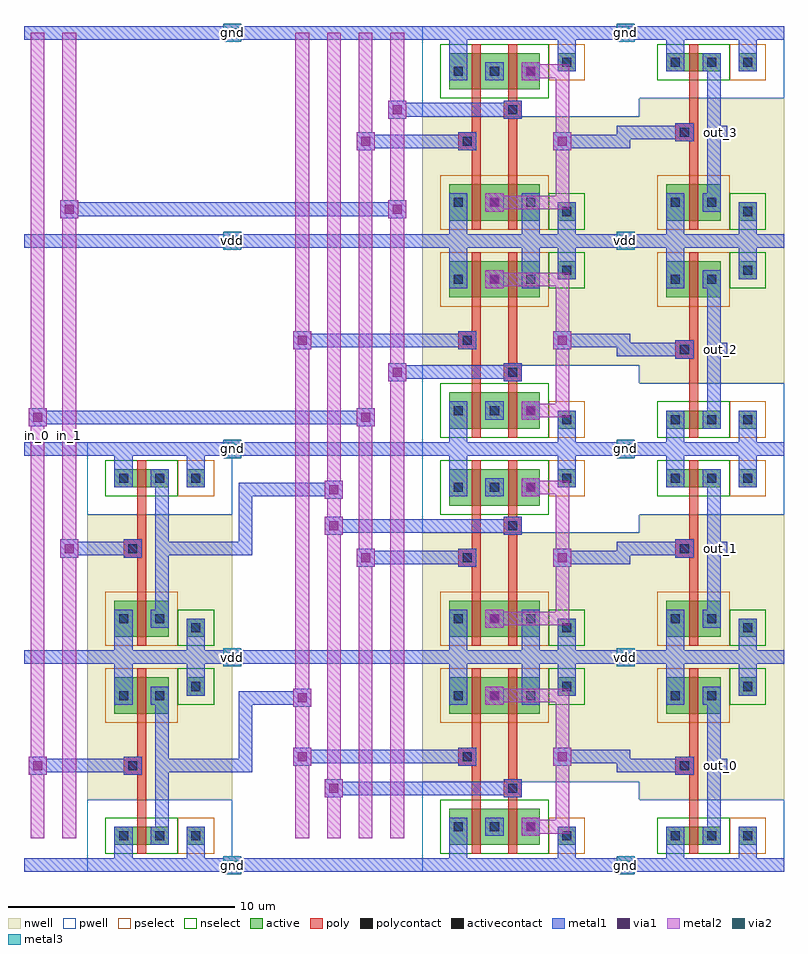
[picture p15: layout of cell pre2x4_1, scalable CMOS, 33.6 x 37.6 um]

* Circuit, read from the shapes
.subckt pre2x4_1 gnd in_0 in_1 out_0 out_1 out_2 out_3 vdd
M1 pnand2_2_6/A in_0 gnd gnd nfet w=0.8u l=0.4u
M2 pnand2_2_6/B in_1 gnd gnd nfet w=0.8u l=0.4u
M3 pnand2_2_6/nmos_m1_w1_6_a_p_2/D pnand2_2_6/A gnd gnd nfet w=1.6u l=0.4u
M4 pnand2_2_7/nmos_m1_w1_6_a_p_2/D in_0 gnd gnd nfet w=1.6u l=0.4u
M5 pnand2_2_8/nmos_m1_w1_6_a_p_2/D pnand2_2_6/A gnd gnd nfet w=1.6u l=0.4u
M6 pnand2_2_9/nmos_m1_w1_6_a_p_2/D in_0 gnd gnd nfet w=1.6u l=0.4u
M7 pinv_2_2/A pnand2_2_6/B pnand2_2_6/nmos_m1_w1_6_a_p_2/D gnd nfet w=1.6u l=0.4u
M8 pinv_2_3/A pnand2_2_6/B pnand2_2_7/nmos_m1_w1_6_a_p_2/D gnd nfet w=1.6u l=0.4u
M9 pinv_2_4/A in_1 pnand2_2_8/nmos_m1_w1_6_a_p_2/D gnd nfet w=1.6u l=0.4u
M10 pinv_2_5/A in_1 pnand2_2_9/nmos_m1_w1_6_a_p_2/D gnd nfet w=1.6u l=0.4u
M11 out_0 pinv_2_2/A gnd gnd nfet w=0.8u l=0.4u
M12 out_1 pinv_2_3/A gnd gnd nfet w=0.8u l=0.4u
M13 out_2 pinv_2_4/A gnd gnd nfet w=0.8u l=0.4u
M14 out_3 pinv_2_5/A gnd gnd nfet w=0.8u l=0.4u
M15 pnand2_2_6/A in_0 vdd vdd pfet w=1.6u l=0.4u
M16 pnand2_2_6/B in_1 vdd vdd pfet w=1.6u l=0.4u
M17 pinv_2_2/A pnand2_2_6/A vdd vdd pfet w=1.6u l=0.4u
M18 pinv_2_3/A in_0 vdd vdd pfet w=1.6u l=0.4u
M19 pinv_2_4/A pnand2_2_6/A vdd vdd pfet w=1.6u l=0.4u
M20 pinv_2_5/A in_0 vdd vdd pfet w=1.6u l=0.4u
M21 vdd pnand2_2_6/B pinv_2_2/A vdd pfet w=1.6u l=0.4u
M22 vdd pnand2_2_6/B pinv_2_3/A vdd pfet w=1.6u l=0.4u
M23 vdd in_1 pinv_2_4/A vdd pfet w=1.6u l=0.4u
M24 vdd in_1 pinv_2_5/A vdd pfet w=1.6u l=0.4u
M25 out_0 pinv_2_2/A vdd vdd pfet w=1.6u l=0.4u
M26 out_1 pinv_2_3/A vdd vdd pfet w=1.6u l=0.4u
M27 out_2 pinv_2_4/A vdd vdd pfet w=1.6u l=0.4u
M28 out_3 pinv_2_5/A vdd vdd pfet w=1.6u l=0.4u
.ends

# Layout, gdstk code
from math import pi, radians
import gdstk
lib = gdstk.Library(unit=1e-6, precision=1e-09)
def R(c, l, rs):  # rectangles x0, y0, x1, y1
    for r in rs: c.add(gdstk.rectangle(r[:2], r[2:], *l))
def A(c, l, x, y, w, h, nx, ny, dx, dy):  # array of equal rectangles
    R(c, l, [(x+i*dx, y+j*dy, x+i*dx+w, y+j*dy+h) for i in range(nx) for j in range(ny)])
pwell = (41, 0)
nwell = (42, 0)
active = (43, 0)
pselect = (44, 0)
nselect = (45, 0)
poly = (46, 0)
polycontact = (47, 0)
activecontact = (48, 0)
metal1 = (49, 0)
via1 = (50, 0)
metal2 = (51, 0)
via2 = (61, 0)
metal3 = (62, 0)

active_contact_metal1_1x = lib.new_cell('active_contact_metal1_1x1_pn')
R(active_contact_metal1_1x, nwell, [(-1.2,-1.2,2,2)])
R(active_contact_metal1_1x, active, [(0,0,0.8,0.8)])
R(active_contact_metal1_1x, pselect, [(-0.4,-0.4,1.2,1.2)])
R(active_contact_metal1_1x, activecontact, [(0.2,0.2,0.6,0.6)])
R(active_contact_metal1_1x, metal1, [(0,0,0.8,0.8)])

pmos_m1_w1_6_a_p = lib.new_cell('pmos_m1_w1_6_a_p')
R(pmos_m1_w1_6_a_p, nwell, [(-1.2,-1.2,3.6,2.8)])
R(pmos_m1_w1_6_a_p, active, [(0,0,2.4,1.6)])
R(pmos_m1_w1_6_a_p, pselect, [(-0.4,-0.4,2.8,2)])
R(pmos_m1_w1_6_a_p, poly, [(1,-0.4,1.4,2), (1,-0.4,1.4,2)])
R(pmos_m1_w1_6_a_p, metal1, [(0,0.4,0.8,1.2), (1.6,0.4,2.4,1.2)])
pmos_m1_w1_6_a_p.add(gdstk.Reference(active_contact_metal1_1x, (0,0.4)))
pmos_m1_w1_6_a_p.add(gdstk.Reference(active_contact_metal1_1x, (1.6,0.4)))
pmos_m1_w1_6_a_p.add(gdstk.Label('G', (1.2,0.8), layer=46, texttype=0))
pmos_m1_w1_6_a_p.add(gdstk.Label('S', (0.4,0.8), layer=49, texttype=0))
pmos_m1_w1_6_a_p.add(gdstk.Label('D', (2,0.8), layer=49, texttype=0))

c_active_contact_metal1_1x = lib.new_cell('active_contact_metal1_1x1_np')
R(c_active_contact_metal1_1x, pwell, [(-1.2,-1.2,2,2)])
R(c_active_contact_metal1_1x, active, [(0,0,0.8,0.8)])
R(c_active_contact_metal1_1x, nselect, [(-0.4,-0.4,1.2,1.2)])
R(c_active_contact_metal1_1x, activecontact, [(0.2,0.2,0.6,0.6)])
R(c_active_contact_metal1_1x, metal1, [(0,0,0.8,0.8)])

nmos_m1_w0_8_a_p = lib.new_cell('nmos_m1_w0_8_a_p')
R(nmos_m1_w0_8_a_p, pwell, [(-1.2,-1.2,3.6,2)])
R(nmos_m1_w0_8_a_p, active, [(0,0,2.4,0.8)])
R(nmos_m1_w0_8_a_p, nselect, [(-0.4,-0.4,2.8,1.2)])
R(nmos_m1_w0_8_a_p, poly, [(1,-0.4,1.4,1.2), (1,-0.4,1.4,1.2)])
R(nmos_m1_w0_8_a_p, metal1, [(0,0,0.8,0.8), (1.6,0,2.4,0.8)])
nmos_m1_w0_8_a_p.add(gdstk.Reference(c_active_contact_metal1_1x, (0,0)))
nmos_m1_w0_8_a_p.add(gdstk.Reference(c_active_contact_metal1_1x, (1.6,0)))
nmos_m1_w0_8_a_p.add(gdstk.Label('G', (1.2,0.4), layer=46, texttype=0))
nmos_m1_w0_8_a_p.add(gdstk.Label('S', (0.4,0.4), layer=49, texttype=0))
nmos_m1_w0_8_a_p.add(gdstk.Label('D', (2,0.4), layer=49, texttype=0))

c_active_contact_metal1_1x_ = lib.new_cell('active_contact_metal1_1x1_nn')
R(c_active_contact_metal1_1x_, nwell, [(-1.2,-1.2,2,2)])
R(c_active_contact_metal1_1x_, active, [(0,0,0.8,0.8)])
R(c_active_contact_metal1_1x_, nselect, [(-0.4,-0.4,1.2,1.2)])
R(c_active_contact_metal1_1x_, activecontact, [(0.2,0.2,0.6,0.6)])
R(c_active_contact_metal1_1x_, metal1, [(0,0,0.8,0.8)])

c_active_contact_metal1_1x__ = lib.new_cell('active_contact_metal1_1x1_pp')
R(c_active_contact_metal1_1x__, pwell, [(-1.2,-1.2,2,2)])
R(c_active_contact_metal1_1x__, active, [(0,0,0.8,0.8)])
R(c_active_contact_metal1_1x__, pselect, [(-0.4,-0.4,1.2,1.2)])
R(c_active_contact_metal1_1x__, activecontact, [(0.2,0.2,0.6,0.6)])
R(c_active_contact_metal1_1x__, metal1, [(0,0,0.8,0.8)])

poly_contact_metal1_1x1 = lib.new_cell('poly_contact_metal1_1x1')
R(poly_contact_metal1_1x1, poly, [(0,0,0.8,0.8)])
R(poly_contact_metal1_1x1, polycontact, [(0.2,0.2,0.6,0.6)])
R(poly_contact_metal1_1x1, metal1, [(0,0,0.8,0.8)])

pinv_2 = lib.new_cell('pinv_2')
R(pinv_2, pwell, [(0,-0.3,6.4,2.9)])
R(pinv_2, nwell, [(0,2.9,6.4,9.5)])
R(pinv_2, poly, [(2.2,0.5,2.6,6.3), (2,4,2.2,4.8)])
R(pinv_2, metal1, [(0,-0.3,6.4,0.3), (1.2,-0.3,2,0.9), (4.4,0,5.2,1.3), (3,0.9,3.6,7.1), (1.6,4,2.4,4.8), (3.3,4.1,3.9,4.7), (1.2,7.1,2,9.5), (4.4,7.9,5.2,9.2), (0,8.9,6.4,9.5)])
pinv_2.add(gdstk.Reference(pmos_m1_w1_6_a_p, (1.2,6.7)))
pinv_2.add(gdstk.Reference(nmos_m1_w0_8_a_p, (1.2,0.9)))
pinv_2.add(gdstk.Reference(c_active_contact_metal1_1x_, (4.4,7.5)))
pinv_2.add(gdstk.Reference(c_active_contact_metal1_1x__, (4.4,0.9)))
pinv_2.add(gdstk.Reference(poly_contact_metal1_1x1, (1.6,4)))
pinv_2.add(gdstk.Label('gnd', (3.2,0), layer=49, texttype=0))
pinv_2.add(gdstk.Label('vdd', (3.2,9.2), layer=49, texttype=0))
pinv_2.add(gdstk.Label('A', (2,4.4), layer=49, texttype=0))
pinv_2.add(gdstk.Label('Z', (3.6,4.4), layer=49, texttype=0))

nmos_m1_w1_6_a_p = lib.new_cell('nmos_m1_w1_6_a_p')
R(nmos_m1_w1_6_a_p, pwell, [(-1.2,-1.2,3.6,2.8)])
R(nmos_m1_w1_6_a_p, active, [(0,0,2.4,1.6)])
R(nmos_m1_w1_6_a_p, nselect, [(-0.4,-0.4,2.8,2)])
R(nmos_m1_w1_6_a_p, poly, [(1,-0.4,1.4,2), (1,-0.4,1.4,2)])
R(nmos_m1_w1_6_a_p, metal1, [(0,0.4,0.8,1.2), (1.6,0.4,2.4,1.2)])
nmos_m1_w1_6_a_p.add(gdstk.Reference(c_active_contact_metal1_1x, (0,0.4)))
nmos_m1_w1_6_a_p.add(gdstk.Reference(c_active_contact_metal1_1x, (1.6,0.4)))
nmos_m1_w1_6_a_p.add(gdstk.Label('G', (1.2,0.8), layer=46, texttype=0))
nmos_m1_w1_6_a_p.add(gdstk.Label('S', (0.4,0.8), layer=49, texttype=0))
nmos_m1_w1_6_a_p.add(gdstk.Label('D', (2,0.8), layer=49, texttype=0))

metal1_via1_metal2_1x1 = lib.new_cell('metal1_via1_metal2_1x1')
R(metal1_via1_metal2_1x1, metal1, [(0,0,0.8,0.8)])
R(metal1_via1_metal2_1x1, via1, [(0.2,0.2,0.6,0.6)])
R(metal1_via1_metal2_1x1, metal2, [(0,0,0.8,0.8)])

pnand2_2 = lib.new_cell('pnand2_2')
R(pnand2_2, pwell, [(0,-0.3,9.6,3.7)])
R(pnand2_2, nwell, [(0,3.7,9.6,9.5)])
R(pnand2_2, poly, [(2.2,0.5,2.6,6.3), (3.8,0.5,4.2,6.3), (3.8,3,4,3.8), (2,4.4,2.2,5.2)])
R(pnand2_2, metal1, [(0,-0.3,9.6,0.3), (1.2,-0.3,2,1.3), (6,0,6.8,1.3), (3.6,3,4.4,3.8), (1.6,4.4,2.4,5.2), (5.8,4.4,6.6,5.2), (1.2,7.1,2,9.5), (4.4,7.1,5.2,9.5), (6,7.9,6.8,9.2), (0,8.9,9.6,9.5)])
R(pnand2_2, metal2, [(4.8,1.4,6.2,2), (5.9,1.4,6.5,2), (5.9,1.7,6.5,4.8), (5.9,4.8,6.5,7.5), (3.2,7.2,6.2,7.8), (5.9,7.2,6.5,7.8)])
pnand2_2.add(gdstk.Reference(pmos_m1_w1_6_a_p, (1.2,6.7)))
pnand2_2.add(gdstk.Reference(pmos_m1_w1_6_a_p, (2.8,6.7)))
pnand2_2.add(gdstk.Reference(nmos_m1_w1_6_a_p, (1.2,0.9)))
pnand2_2.add(gdstk.Reference(nmos_m1_w1_6_a_p, (2.8,0.9)))
pnand2_2.add(gdstk.Reference(c_active_contact_metal1_1x_, (6,7.5)))
pnand2_2.add(gdstk.Reference(c_active_contact_metal1_1x__, (6,0.9)))
pnand2_2.add(gdstk.Reference(poly_contact_metal1_1x1, (4.4,3), rotation=pi/2))
pnand2_2.add(gdstk.Reference(poly_contact_metal1_1x1, (2.4,4.4), rotation=pi/2))
pnand2_2.add(gdstk.Reference(metal1_via1_metal2_1x1, (2.8,7.1)))
pnand2_2.add(gdstk.Reference(metal1_via1_metal2_1x1, (4.4,1.3)))
pnand2_2.add(gdstk.Reference(metal1_via1_metal2_1x1, (6.6,4.4), rotation=pi/2))
pnand2_2.add(gdstk.Label('gnd', (4.8,0), layer=49, texttype=0))
pnand2_2.add(gdstk.Label('vdd', (4.8,9.2), layer=49, texttype=0))
pnand2_2.add(gdstk.Label('B', (4,3.4), layer=49, texttype=0))
pnand2_2.add(gdstk.Label('A', (2,4.8), layer=49, texttype=0))
pnand2_2.add(gdstk.Label('Z', (6.2,4.8), layer=49, texttype=0))

metal2_via2_metal3_1x1 = lib.new_cell('metal2_via2_metal3_1x1')
R(metal2_via2_metal3_1x1, metal2, [(0,0,0.8,0.8)])
R(metal2_via2_metal3_1x1, via2, [(0.2,0.2,0.6,0.6)])
R(metal2_via2_metal3_1x1, metal3, [(0,0,0.8,0.8)])

pre2x4_1 = lib.new_cell('pre2x4_1')
A(pre2x4_1, metal1, 26.2, 4.4, 0.6, 0.4, 1, 4, 0, 9.2)
R(pre2x4_1, metal1, [(0,-0.3,33.6,0.3), (13.7,3.1,21.2,3.7), (0.6,4.1,4.4,4.7), (6.7,4.1,9.8,4.7), (9.5,4.1,10.1,4.7), (26.2,4.1,26.8,4.7), (26.5,4.1,28.8,4.7), (30.5,4.1,31.1,4.7), (9.5,4.4,10.1,7.4), (12.3,4.5,19.2,5.1), (24.2,4.5,26.5,5.1), (26.2,4.5,26.8,5.1), (9.5,7.1,10.1,7.7), (9.8,7.1,12.3,7.7), (0,8.9,33.6,9.5), (0,8.9,33.6,9.5), (15.1,13.3,19.2,13.9), (24.2,13.3,26.5,13.9), (26.2,13.3,26.8,13.9), (2,13.7,4.4,14.3), (6.7,13.7,9.8,14.3), (9.5,13.7,10.1,14.3), (26.2,13.7,26.8,14.3), (26.5,13.7,28.8,14.3), (30.5,13.7,31.1,14.3), (9.5,14,10.1,16.6), (13.7,14.7,21.2,15.3), (9.5,16.3,10.1,16.9), (9.8,16.3,13.7,16.9), (0,18.1,33.6,18.7), (0,18.1,33.6,18.7), (0.6,19.5,15.1,20.1), (16.5,21.5,21.2,22.1), (26.2,22.5,26.8,23.1), (26.5,22.5,28.8,23.1), (30.5,22.5,31.1,23.1), (12.3,22.9,19.2,23.5), (24.2,22.9,26.5,23.5), (26.2,22.9,26.8,23.5), (0,27.3,33.6,27.9), (0,27.3,33.6,27.9), (2,28.7,16.5,29.3), (15.1,31.7,19.2,32.3), (24.2,31.7,26.5,32.3), (26.2,31.7,26.8,32.3), (26.2,32.1,26.8,32.7), (26.5,32.1,28.8,32.7), (30.5,32.1,31.1,32.7), (16.5,33.1,21.2,33.7), (0,36.5,33.6,37.1)])
A(pre2x4_1, metal2, 12, 1.2, 0.6, 35.6, 4, 1, 1.4, 0)
R(pre2x4_1, metal2, [(0.3,1.2,0.9,36.8), (1.7,1.2,2.3,36.8)])
A(pre2x4_1, metal3, 8.8, -0.4, 0.8, 0.8, 1, 5, 0, 9.2)
A(pre2x4_1, metal3, 26.2, -0.4, 0.8, 0.8, 1, 5, 0, 9.2)
pre2x4_1.add(gdstk.Reference(pinv_2, (2.8,0)))
pre2x4_1.add(gdstk.Reference(pinv_2, (2.8,18.4), x_reflection=True))
pre2x4_1.add(gdstk.Reference(pinv_2, (27.2,0)))
pre2x4_1.add(gdstk.Reference(pinv_2, (27.2,18.4), x_reflection=True))
pre2x4_1.add(gdstk.Reference(pinv_2, (27.2,18.4)))
pre2x4_1.add(gdstk.Reference(pinv_2, (27.2,36.8), x_reflection=True))
pre2x4_1.add(gdstk.Reference(pnand2_2, (17.6,0)))
pre2x4_1.add(gdstk.Reference(pnand2_2, (17.6,18.4), x_reflection=True))
pre2x4_1.add(gdstk.Reference(pnand2_2, (17.6,18.4)))
pre2x4_1.add(gdstk.Reference(pnand2_2, (17.6,36.8), x_reflection=True))
pre2x4_1.add(gdstk.Reference(metal1_via1_metal2_1x1, (12.7,7), rotation=pi/2))
pre2x4_1.add(gdstk.Reference(metal1_via1_metal2_1x1, (1,4), rotation=pi/2))
pre2x4_1.add(gdstk.Reference(metal1_via1_metal2_1x1, (14.1,16.2), rotation=pi/2))
pre2x4_1.add(gdstk.Reference(metal1_via1_metal2_1x1, (2.4,13.6), rotation=pi/2))
pre2x4_1.add(gdstk.Reference(metal1_via1_metal2_1x1, (1,19.4), rotation=pi/2))
pre2x4_1.add(gdstk.Reference(metal1_via1_metal2_1x1, (15.5,19.4), rotation=pi/2))
pre2x4_1.add(gdstk.Reference(metal1_via1_metal2_1x1, (2.4,28.6), rotation=pi/2))
pre2x4_1.add(gdstk.Reference(metal1_via1_metal2_1x1, (16.9,28.6), rotation=pi/2))
pre2x4_1.add(gdstk.Reference(metal1_via1_metal2_1x1, (12.7,4.4), rotation=pi/2))
pre2x4_1.add(gdstk.Reference(metal1_via1_metal2_1x1, (14.1,3), rotation=pi/2))
pre2x4_1.add(gdstk.Reference(metal1_via1_metal2_1x1, (15.5,13.2), rotation=pi/2))
pre2x4_1.add(gdstk.Reference(metal1_via1_metal2_1x1, (14.1,14.6), rotation=pi/2))
pre2x4_1.add(gdstk.Reference(metal1_via1_metal2_1x1, (12.7,22.8), rotation=pi/2))
pre2x4_1.add(gdstk.Reference(metal1_via1_metal2_1x1, (16.9,21.4), rotation=pi/2))
pre2x4_1.add(gdstk.Reference(metal1_via1_metal2_1x1, (15.5,31.6), rotation=pi/2))
pre2x4_1.add(gdstk.Reference(metal1_via1_metal2_1x1, (16.9,33), rotation=pi/2))
pre2x4_1.add(gdstk.Reference(metal1_via1_metal2_1x1, (9.6,8.8), rotation=pi/2))
pre2x4_1.add(gdstk.Reference(metal2_via2_metal3_1x1, (9.6,8.8), rotation=pi/2))
pre2x4_1.add(gdstk.Reference(metal1_via1_metal2_1x1, (27,8.8), rotation=pi/2))
pre2x4_1.add(gdstk.Reference(metal2_via2_metal3_1x1, (27,8.8), rotation=pi/2))
pre2x4_1.add(gdstk.Reference(metal1_via1_metal2_1x1, (9.6,-0.4), rotation=pi/2))
pre2x4_1.add(gdstk.Reference(metal2_via2_metal3_1x1, (9.6,-0.4), rotation=pi/2))
pre2x4_1.add(gdstk.Reference(metal1_via1_metal2_1x1, (27,-0.4), rotation=pi/2))
pre2x4_1.add(gdstk.Reference(metal2_via2_metal3_1x1, (27,-0.4), rotation=pi/2))
pre2x4_1.add(gdstk.Reference(metal1_via1_metal2_1x1, (9.6,8.8), rotation=pi/2))
pre2x4_1.add(gdstk.Reference(metal2_via2_metal3_1x1, (9.6,8.8), rotation=pi/2))
pre2x4_1.add(gdstk.Reference(metal1_via1_metal2_1x1, (27,8.8), rotation=pi/2))
pre2x4_1.add(gdstk.Reference(metal2_via2_metal3_1x1, (27,8.8), rotation=pi/2))
pre2x4_1.add(gdstk.Reference(metal1_via1_metal2_1x1, (9.6,18), rotation=pi/2))
pre2x4_1.add(gdstk.Reference(metal2_via2_metal3_1x1, (9.6,18), rotation=pi/2))
pre2x4_1.add(gdstk.Reference(metal1_via1_metal2_1x1, (27,18), rotation=pi/2))
pre2x4_1.add(gdstk.Reference(metal2_via2_metal3_1x1, (27,18), rotation=pi/2))
pre2x4_1.add(gdstk.Reference(metal1_via1_metal2_1x1, (9.6,27.2), rotation=pi/2))
pre2x4_1.add(gdstk.Reference(metal2_via2_metal3_1x1, (9.6,27.2), rotation=pi/2))
pre2x4_1.add(gdstk.Reference(metal1_via1_metal2_1x1, (27,27.2), rotation=pi/2))
pre2x4_1.add(gdstk.Reference(metal2_via2_metal3_1x1, (27,27.2), rotation=pi/2))
pre2x4_1.add(gdstk.Reference(metal1_via1_metal2_1x1, (9.6,18), rotation=pi/2))
pre2x4_1.add(gdstk.Reference(metal2_via2_metal3_1x1, (9.6,18), rotation=pi/2))
pre2x4_1.add(gdstk.Reference(metal1_via1_metal2_1x1, (27,18), rotation=pi/2))
pre2x4_1.add(gdstk.Reference(metal2_via2_metal3_1x1, (27,18), rotation=pi/2))
pre2x4_1.add(gdstk.Reference(metal1_via1_metal2_1x1, (9.6,27.2), rotation=pi/2))
pre2x4_1.add(gdstk.Reference(metal2_via2_metal3_1x1, (9.6,27.2), rotation=pi/2))
pre2x4_1.add(gdstk.Reference(metal1_via1_metal2_1x1, (27,27.2), rotation=pi/2))
pre2x4_1.add(gdstk.Reference(metal2_via2_metal3_1x1, (27,27.2), rotation=pi/2))
pre2x4_1.add(gdstk.Reference(metal1_via1_metal2_1x1, (9.6,36.4), rotation=pi/2))
pre2x4_1.add(gdstk.Reference(metal2_via2_metal3_1x1, (9.6,36.4), rotation=pi/2))
pre2x4_1.add(gdstk.Reference(metal1_via1_metal2_1x1, (27,36.4), rotation=pi/2))
pre2x4_1.add(gdstk.Reference(metal2_via2_metal3_1x1, (27,36.4), rotation=pi/2))
pre2x4_1.add(gdstk.Label('in_0', (0.6,19), layer=51, texttype=0))
pre2x4_1.add(gdstk.Label('in_1', (2,19), layer=51, texttype=0))
pre2x4_1.add(gdstk.Label('out_0', (30.8,4.4), layer=49, texttype=0))
pre2x4_1.add(gdstk.Label('out_1', (30.8,14), layer=49, texttype=0))
pre2x4_1.add(gdstk.Label('out_2', (30.8,22.8), layer=49, texttype=0))
pre2x4_1.add(gdstk.Label('out_3', (30.8,32.4), layer=49, texttype=0))
pre2x4_1.add(gdstk.Label('vdd', (9.2,9.2), layer=62, texttype=0))
pre2x4_1.add(gdstk.Label('vdd', (26.6,9.2), layer=62, texttype=0))
pre2x4_1.add(gdstk.Label('vdd', (9.2,27.6), layer=62, texttype=0))
pre2x4_1.add(gdstk.Label('vdd', (26.6,27.6), layer=62, texttype=0))
pre2x4_1.add(gdstk.Label('gnd', (9.2,0), layer=62, texttype=0))
pre2x4_1.add(gdstk.Label('gnd', (26.6,0), layer=62, texttype=0))
pre2x4_1.add(gdstk.Label('gnd', (9.2,18.4), layer=62, texttype=0))
pre2x4_1.add(gdstk.Label('gnd', (26.6,18.4), layer=62, texttype=0))
pre2x4_1.add(gdstk.Label('gnd', (9.2,36.8), layer=62, texttype=0))
pre2x4_1.add(gdstk.Label('gnd', (26.6,36.8), layer=62, texttype=0))

lib.write_gds('pre2x4_1.gds')
